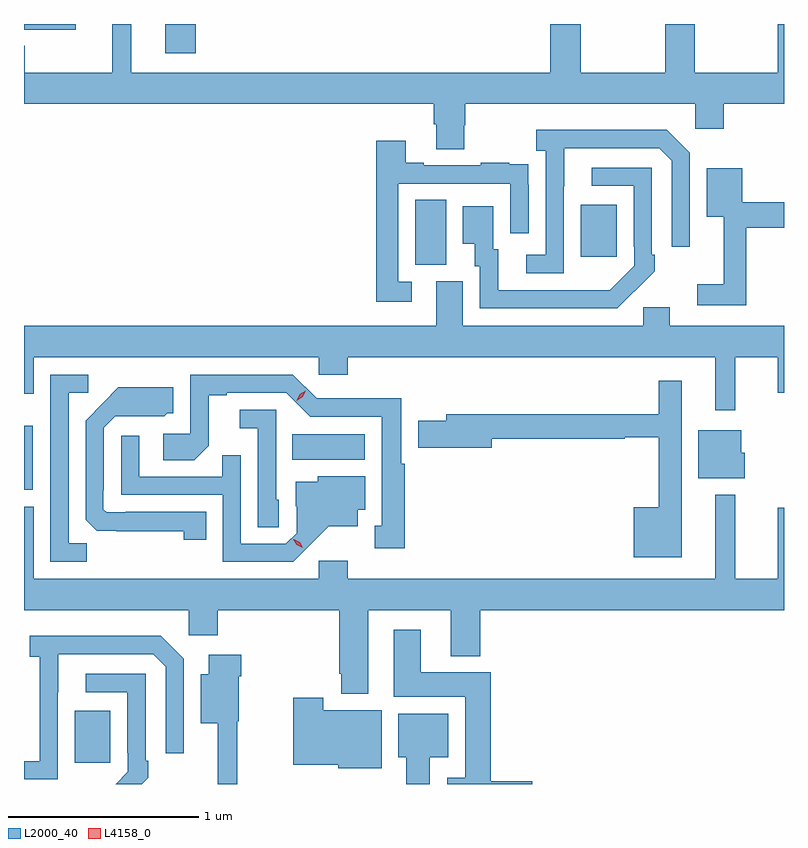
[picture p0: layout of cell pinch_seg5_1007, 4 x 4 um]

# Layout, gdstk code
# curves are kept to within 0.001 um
import gdstk
lib = gdstk.Library(unit=1e-6, precision=1e-09)
def R(c, l, rs):  # rectangles x0, y0, x1, y1
    for r in rs: c.add(gdstk.rectangle(r[:2], r[2:], *l))
def P(c, l, *ps):  # polygons
    for p in ps: c.add(gdstk.Polygon(p, *l))
L2000_40 = (2000, 40)
L4158_0 = (4158, 0)

pinch_seg5_1007 = lib.new_cell('pinch_seg5_1007')
R(pinch_seg5_1007, L2000_40, [(736.733,841.305,736.921,841.579), (736.466,842.741,736.513,843.079), (737.878,842.9,738.259,843.034), (738.524,843.925,738.688,844.268), (739.397,843.969,739.585,844.243), (737.21,845.04,737.369,845.193), (736.466,845.163,736.739,845.193)])
P(pinch_seg5_1007, L2000_40, [(738.783,844.659),(738.788,844.659),(738.788,844.772),(739.998,844.772),(739.998,844.641),(740.15,844.641),(740.15,844.772),(740.466,844.772),(740.466,845.193),(740.432,845.193),(740.432,844.936),(739.995,844.936),(739.995,845.193),(739.84,845.193),(739.84,844.936),(739.395,844.936),(739.395,845.193),(739.235,845.193),(739.235,844.936),(737.03,844.936),(737.03,845.193),(736.931,845.193),(736.931,844.936),(736.47,844.936),(736.47,845.078),(736.466,845.078),(736.466,844.772),(738.623,844.772),(738.623,844.666),(738.635,844.666),(738.635,844.534),(738.783,844.534)],
  [(739.308,844.339),(739.309,844.539),(739.809,844.539),(739.875,844.473),(739.875,844.02),(739.971,844.02),(739.971,844.515),(739.85,844.636),(739.161,844.636),(739.161,844.526),(739.212,844.526),(739.212,843.978),(739.11,843.978),(739.11,843.882),(739.308,843.882)],
  [(738.508,843.837),(738.435,843.837),(738.435,844.353),(739.026,844.353),(739.026,844.092),(739.122,844.092),(739.122,844.346),(739.121,844.346),(739.121,844.455),(739.019,844.455),(739.019,844.462),(738.871,844.462),(738.871,844.449),(738.571,844.449),(738.571,844.462),(738.475,844.462),(738.475,844.579),(738.319,844.579),(738.319,843.732),(738.508,843.732)],
  [(739.679,843.787),(739.68,843.786),(739.785,843.891),(739.785,843.979),(739.77,843.979),(739.77,844.437),(739.455,844.437),(739.455,844.341),(739.674,844.341),(739.674,844.021),(739.677,844.021),(739.677,843.921),(739.549,843.793),(738.961,843.792),(738.961,844.008),(738.937,844.008),(738.937,844.234),(738.776,844.234),(738.776,844.037),(738.839,844.037),(738.839,843.918),(738.864,843.918),(738.864,843.696),(739.588,843.696)],
  [(740.267,844.12),(740.466,844.12),(740.466,844.256),(740.247,844.256),(740.247,844.435),(740.06,844.435),(740.06,844.178),(740.15,844.178),(740.15,843.823),(740.01,843.823),(740.01,843.714),(740.267,843.714)],
  [(740.209,843.44),(740.432,843.44),(740.432,843.252),(740.466,843.252),(740.466,843.604),(739.864,843.604),(739.864,843.702),(739.725,843.702),(739.725,843.604),(738.775,843.604),(738.775,843.84),(738.635,843.84),(738.635,843.604),(736.466,843.604),(736.466,843.246),(736.516,843.246),(736.516,843.44),(738.018,843.44),(738.018,843.347),(738.17,843.347),(738.17,843.44),(740.105,843.44),(740.105,843.159),(740.209,843.159)],
  [(738.469,842.879),(738.451,842.879),(738.451,843.224),(738.228,843.224),(738.228,843.222),(738.006,843.222),(737.88,843.348),(737.34,843.348),(737.34,843.036),(737.199,843.036),(737.199,842.896),(737.363,842.896),(737.439,842.972),(737.439,843.24),(737.533,843.24),(737.533,843.252),(737.847,843.252),(737.973,843.126),(738.35,843.126),(738.35,842.553),(738.311,842.553),(738.311,842.433),(738.469,842.433)],
  [(736.797,842.459),(736.701,842.459),(736.701,843.252),(736.804,843.252),(736.804,843.348),(736.605,843.348),(736.605,842.364),(736.797,842.364)],
  [(739.927,843.316),(739.806,843.316),(739.806,843.139),(738.689,843.139),(738.689,843.105),(738.54,843.105),(738.54,842.963),(738.928,842.963),(738.928,843.01),(739.627,843.01),(739.627,843.018),(739.806,843.018),(739.806,842.65),(739.676,842.65),(739.676,842.387),(739.927,842.387)],
  [(737.426,842.625),(737.002,842.625),(737.002,842.622),(736.902,842.622),(736.884,842.64),(736.884,842.74),(736.887,842.74),(736.887,843.069),(736.947,843.129),(737.204,843.128),(737.22,843.144),(737.251,843.144),(737.251,843.28),(736.963,843.28),(736.791,843.106),(736.791,842.584),(736.85,842.525),(737.308,842.524),(737.308,842.478),(737.426,842.478)],
  [(737.808,842.688),(737.793,842.688),(737.793,843.162),(737.601,843.162),(737.601,843.065),(737.697,843.065),(737.697,842.545),(737.808,842.545)],
  [(740.26,842.937),(740.242,842.937),(740.242,843.055),(740.015,843.055),(740.015,842.801),(740.26,842.801)],
  [(737.968,842.447),(738.071,842.549),(738.223,842.549),(738.223,842.636),(738.262,842.636),(738.262,842.812),(738.012,842.812),(738.012,842.785),(737.897,842.785),(737.897,842.656),(737.901,842.656),(737.901,842.514),(737.844,842.457),(737.607,842.457),(737.607,842.924),(737.509,842.924),(737.509,842.811),(737.073,842.811),(737.073,843.025),(736.977,843.025),(736.977,842.715),(737.511,842.715),(737.511,842.364),(737.884,842.364)],
  [(738.277,842.108),(738.713,842.108),(738.713,841.865),(738.866,841.865),(738.866,842.108),(740.466,842.108),(740.466,842.647),(740.432,842.647),(740.432,842.272),(740.209,842.272),(740.209,842.716),(740.105,842.716),(740.105,842.272),(738.17,842.272),(738.17,842.368),(738.018,842.368),(738.018,842.272),(736.516,842.272),(736.516,842.653),(736.466,842.653),(736.466,842.108),(737.334,842.108),(737.334,841.977),(737.486,841.977),(737.486,842.108),(738.125,842.108),(738.125,841.774),(738.137,841.774),(738.137,841.667),(738.277,841.667)],
  [(739.141,841.208),(738.923,841.208),(738.923,841.78),(738.553,841.78),(738.553,842.005),(738.413,842.005),(738.413,841.652),(738.788,841.652),(738.788,841.225),(738.693,841.225),(738.693,841.193),(739.141,841.193)],
  [(736.644,841.675),(736.645,841.875),(737.145,841.875),(737.211,841.809),(737.211,841.356),(737.307,841.356),(737.307,841.851),(737.186,841.972),(736.497,841.972),(736.497,841.862),(736.548,841.862),(736.548,841.314),(736.466,841.314),(736.466,841.218),(736.644,841.218)],
  [(737.588,841.524),(737.596,841.524),(737.596,841.76),(737.609,841.76),(737.609,841.873),(737.438,841.873),(737.438,841.771),(737.396,841.771),(737.396,841.514),(737.486,841.514),(737.486,841.193),(737.588,841.193)],
  [(737.121,841.227),(737.121,841.315),(737.106,841.315),(737.106,841.773),(736.791,841.773),(736.791,841.677),(737.01,841.677),(737.01,841.357),(737.013,841.357),(737.013,841.257),(736.949,841.193),(737.087,841.193)],
  [(738.349,841.582),(738.04,841.582),(738.04,841.648),(737.882,841.648),(737.882,841.295),(738.12,841.295),(738.12,841.277),(738.349,841.277)],
  [(738.601,841.334),(738.7,841.334),(738.7,841.564),(738.437,841.564),(738.437,841.334),(738.479,841.334),(738.479,841.193),(738.601,841.193)])
P(pinch_seg5_1007, L4158_0, [(737.933,842.436),(737.902,842.451),(737.884,842.48),(737.884,842.481),(737.885,842.481),(737.916,842.466),(737.933,842.437),(737.933,842.436)],
  [(737.902,843.211),(737.902,843.211),(737.918,843.244),(737.949,843.264),(737.949,843.264),(737.949,843.263),(737.933,843.231),(737.902,843.211)])

lib.write_gds('pinch_seg5_1007.gds')
